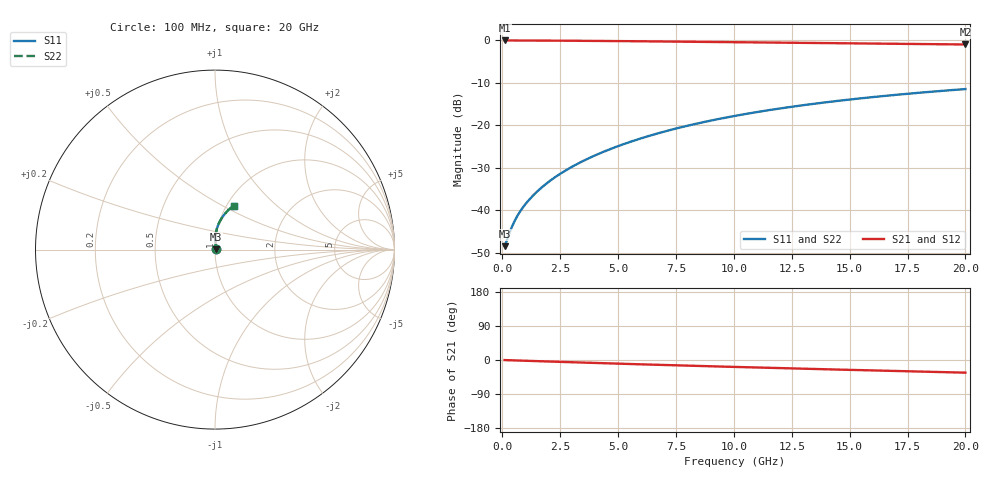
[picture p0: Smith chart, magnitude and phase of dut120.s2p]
! Touchstone file exported from HFSS 2024.1.0
!  File:  C:/UserFiles/LocalFiles/RDL_TSV_Batchsim/temp_RDL_bottom_120_1778696035.aedt
!  Generated:  02:16:01 AM May 14, 2026
!  Design:  RDL_bottom
!  Project:  temp_RDL_bottom_120_1778696035
!  Setup:  Setup1
!  Solution:  Sweep
! Variables:
!  dtsv = 10.80580581um
!  hbump = 3um
!  htsv = 98.96um
!  ldown = 487.65um
!  lrdl = 100um
!  p = 40
!  p1 = 45.8um
!  rhole = 1um
!  t = 450um
!  tdown = 2.03um
!  trdl = 3.915915916um
!  wdown = 26.91um
!  wrdl = 20um
# GHz S MA R 50.000000
! Terminal data exported
! Port[1] = RDL1_T1
! Port[2] = RDL1_T2
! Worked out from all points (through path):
!   200 points, 100 MHz to 20 GHz, reference 50 ohm
!   highest |S21| = -0.03 dB at 100 MHz (marker M1); lowest = -1.0 dB at 20 GHz (marker M2)
!   group delay of S21, straight-line fit = 4.59 ps
!   lowest |S11| = -48.4 dB at 100 MHz (marker M3), VSWR 1.01, Z = 50.4 + j0.129 ohm
!   |S11| at or under -10 dB: start of sweep to end of sweep
!   |S22| runs from -48.4 to -11.5 dB; largest |S21 - S12| = 3.1e-15
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0.1  0.003788 19.7  0.9964 -0.2  0.9964 -0.2  0.003788 19.7
! Gamma 0 0 0 0
! Port Impedance 50 0 50 0
0.4  0.006252 50.5  0.9959 -0.8  0.9959 -0.8  0.006252 50.5
0.5  0.007194 55.0  0.9956 -1.0  0.9956 -1.0  0.007194 55.0
0.6  0.00813 58.5  0.9954 -1.2  0.9954 -1.2  0.00813 58.5
0.7  0.009057 61.3  0.9952 -1.4  0.9952 -1.4  0.009057 61.3
0.9  0.0109 65.8  0.9947 -1.8  0.9947 -1.8  0.0109 65.8
1.2  0.0137 70.8  0.9941 -2.4  0.9941 -2.4  0.0137 70.8
1.4  0.01562 73.4  0.9937 -2.8  0.9937 -2.8  0.01562 73.4
1.7  0.01856 76.5  0.9929 -3.4  0.9929 -3.4  0.01856 76.5
2.2  0.02369 80.3  0.9915 -4.4  0.9915 -4.4  0.02369 80.3
2.8  0.03017 83.3  0.9895 -5.5  0.9895 -5.5  0.03018 83.3
3.5  0.0382 85.6  0.9868 -6.9  0.9868 -6.9  0.0382 85.6
4.2  0.04669 87.0  0.9836 -8.2  0.9836 -8.2  0.0467 87.0
5  0.05692 87.7  0.9796 -9.7  0.9796 -9.7  0.05693 87.7
5.9  0.06902 87.9  0.9748 -11.3  0.9748 -11.3  0.06903 87.9
6.8  0.0816 87.5  0.9697 -12.9  0.9697 -12.9  0.08162 87.5
8.4  0.1048 85.9  0.9604 -15.6  0.9604 -15.6  0.1048 86.0
10.1  0.13 83.6  0.9504 -18.4  0.9504 -18.4  0.13 83.6
11.7  0.1536 81.0  0.941 -20.9  0.941 -20.9  0.1537 81.0
13.4  0.1784 78.1  0.9311 -23.6  0.9311 -23.6  0.1784 78.1
16.7  0.2244 72.3  0.9122 -28.6  0.9122 -28.6  0.2245 72.3
20  0.267 66.8  0.8936 -33.4  0.8936 -33.4  0.2671 66.8
